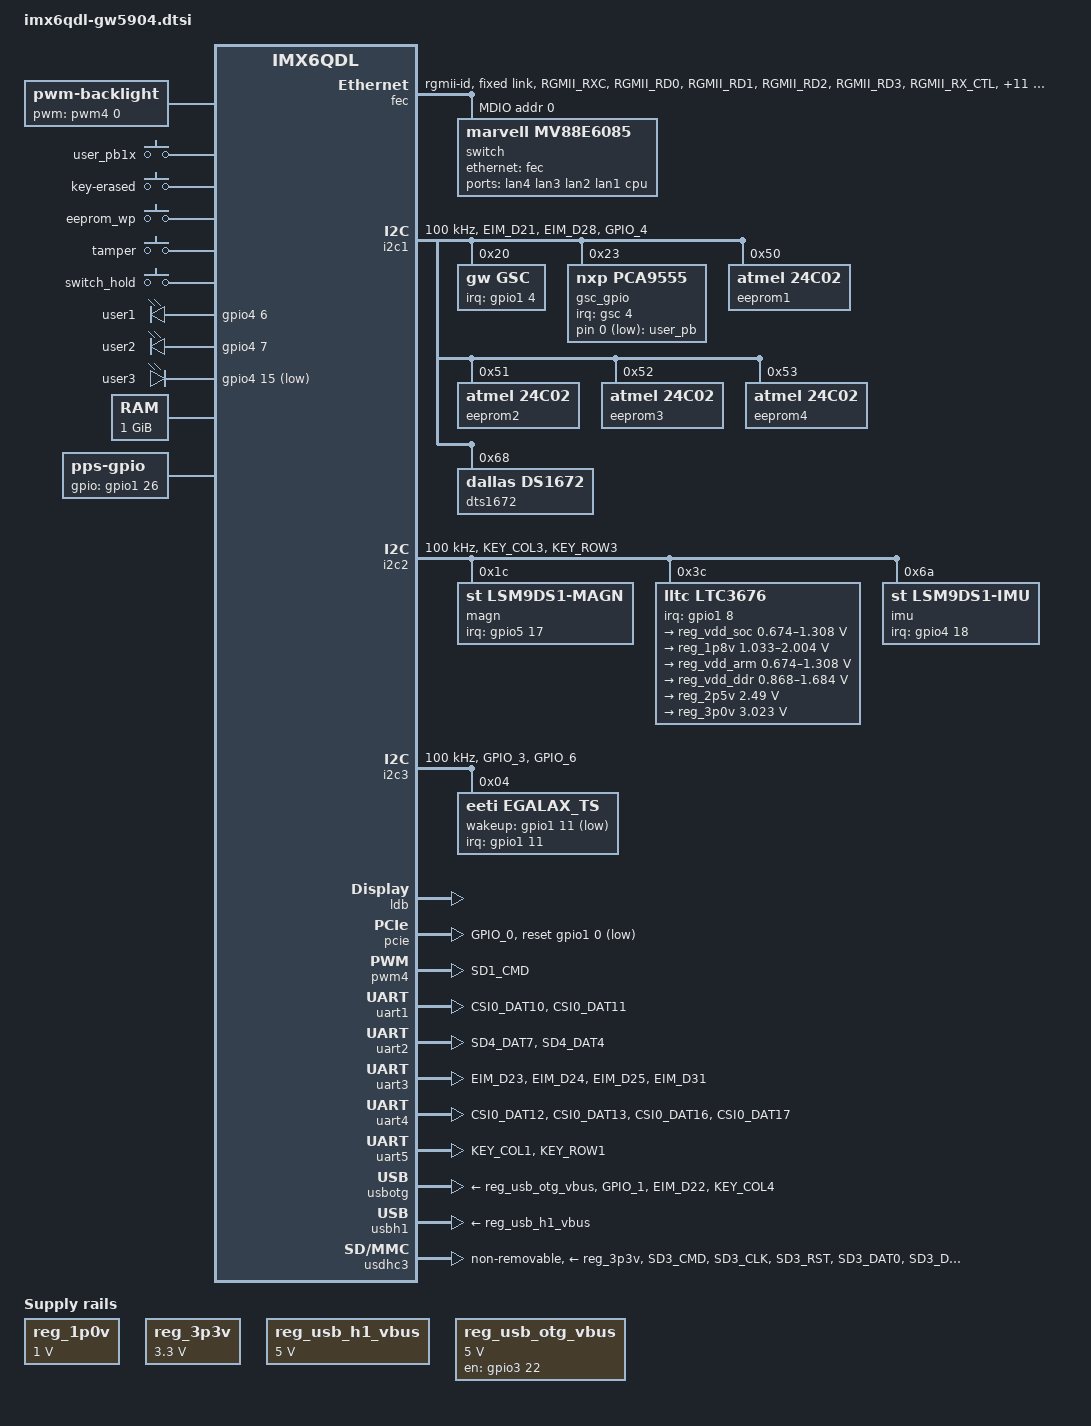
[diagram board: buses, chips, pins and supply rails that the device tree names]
/*
 * Copyright 2017 Gateworks Corporation
 *
 * This file is dual-licensed: you can use it either under the terms
 * of the GPL or the X11 license, at your option. Note that this dual
 * licensing only applies to this file, and not this project as a
 * whole.
 *
 *  a) This file is free software; you can redistribute it and/or
 *     modify it under the terms of the GNU General Public License as
 *     published by the Free Software Foundation; either version 2 of
 *     the License, or (at your option) any later version.
 *
 *     This file is distributed in the hope that it will be useful,
 *     but WITHOUT ANY WARRANTY; without even the implied warranty of
 *     MERCHANTABILITY or FITNESS FOR A PARTICULAR PURPOSE.  See the
 *     GNU General Public License for more details.
 *
 *     You should have received a copy of the GNU General Public
 *     License along with this file; if not, write to the Free
 *     Software Foundation, Inc., 51 Franklin St, Fifth Floor, Boston,
 *     MA 02110-1301 USA
 *
 * Or, alternatively,
 *
 *  b) Permission is hereby granted, free of charge, to any person
 *     obtaining a copy of this software and associated documentation
 *     files (the "Software"), to deal in the Software without
 *     restriction, including without limitation the rights to use,
 *     copy, modify, merge, publish, distribute, sublicense, and/or
 *     sell copies of the Software, and to permit persons to whom the
 *     Software is furnished to do so, subject to the following
 *     conditions:
 *
 *     The above copyright notice and this permission notice shall be
 *     included in all copies or substantial portions of the Software.
 *
 *     THE SOFTWARE IS PROVIDED "AS IS", WITHOUT WARRANTY OF ANY KIND,
 *     EXPRESS OR IMPLIED, INCLUDING BUT NOT LIMITED TO THE WARRANTIES
 *     OF MERCHANTABILITY, FITNESS FOR A PARTICULAR PURPOSE AND
 *     NONINFRINGEMENT. IN NO EVENT SHALL THE AUTHORS OR COPYRIGHT
 *     HOLDERS BE LIABLE FOR ANY CLAIM, DAMAGES OR OTHER LIABILITY,
 *     WHETHER IN AN ACTION OF CONTRACT, TORT OR OTHERWISE, ARISING
 *     FROM, OUT OF OR IN CONNECTION WITH THE SOFTWARE OR THE USE OR
 *     OTHER DEALINGS IN THE SOFTWARE.
 */

#include <dt-bindings/gpio/gpio.h>
#include <dt-bindings/input/linux-event-codes.h>
#include <dt-bindings/interrupt-controller/irq.h>

/ {
	/* these are used by bootloader for disabling nodes */
	aliases {
		led0 = &led0;
		led1 = &led1;
		led2 = &led2;
		usb0 = &usbh1;
		usb1 = &usbotg;
	};

	chosen {
		stdout-path = &uart2;
	};

	backlight {
		compatible = "pwm-backlight";
		pwms = <&pwm4 0 5000000>;
		brightness-levels = <0 4 8 16 32 64 128 255>;
		default-brightness-level = <7>;
	};

	gpio-keys {
		compatible = "gpio-keys";
		#address-cells = <1>;
		#size-cells = <0>;

		user-pb {
			label = "user_pb";
			gpios = <&gsc_gpio 0 GPIO_ACTIVE_LOW>;
			linux,code = <BTN_0>;
		};

		user-pb1x {
			label = "user_pb1x";
			linux,code = <BTN_1>;
			interrupt-parent = <&gsc>;
			interrupts = <0>;
		};

		key-erased {
			label = "key-erased";
			linux,code = <BTN_2>;
			interrupt-parent = <&gsc>;
			interrupts = <1>;
		};

		eeprom-wp {
			label = "eeprom_wp";
			linux,code = <BTN_3>;
			interrupt-parent = <&gsc>;
			interrupts = <2>;
		};

		tamper {
			label = "tamper";
			linux,code = <BTN_4>;
			interrupt-parent = <&gsc>;
			interrupts = <5>;
		};

		switch-hold {
			label = "switch_hold";
			linux,code = <BTN_5>;
			interrupt-parent = <&gsc>;
			interrupts = <7>;
		};
	};

	leds {
		compatible = "gpio-leds";
		pinctrl-names = "default";
		pinctrl-0 = <&pinctrl_gpio_leds>;

		led0: user1 {
			label = "user1";
			gpios = <&gpio4 6 GPIO_ACTIVE_HIGH>; /* MX6_PANLEDG */
			default-state = "on";
			linux,default-trigger = "heartbeat";
		};

		led1: user2 {
			label = "user2";
			gpios = <&gpio4 7 GPIO_ACTIVE_HIGH>; /* MX6_PANLEDR */
			default-state = "off";
		};

		led2: user3 {
			label = "user3";
			gpios = <&gpio4 15 GPIO_ACTIVE_LOW>; /* MX6_LOCLED# */
			default-state = "off";
		};
	};

	memory@10000000 {
		device_type = "memory";
		reg = <0x10000000 0x40000000>;
	};

	pps {
		compatible = "pps-gpio";
		pinctrl-names = "default";
		pinctrl-0 = <&pinctrl_pps>;
		gpios = <&gpio1 26 GPIO_ACTIVE_HIGH>;
	};

	reg_1p0v: regulator-1p0v {
		compatible = "regulator-fixed";
		regulator-name = "1P0V";
		regulator-min-microvolt = <1000000>;
		regulator-max-microvolt = <1000000>;
		regulator-always-on;
	};

	reg_3p3v: regulator-3p3v {
		compatible = "regulator-fixed";
		regulator-name = "3P3V";
		regulator-min-microvolt = <3300000>;
		regulator-max-microvolt = <3300000>;
		regulator-always-on;
	};

	reg_usb_h1_vbus: regulator-usb-h1-vbus {
		compatible = "regulator-fixed";
		regulator-name = "usb_h1_vbus";
		regulator-min-microvolt = <5000000>;
		regulator-max-microvolt = <5000000>;
		regulator-always-on;
	};

	reg_usb_otg_vbus: regulator-usb-otg-vbus {
		compatible = "regulator-fixed";
		regulator-name = "usb_otg_vbus";
		regulator-min-microvolt = <5000000>;
		regulator-max-microvolt = <5000000>;
		gpio = <&gpio3 22 GPIO_ACTIVE_HIGH>;
		enable-active-high;
	};
};

&clks {
	assigned-clocks = <&clks IMX6QDL_CLK_LDB_DI0_SEL>,
			  <&clks IMX6QDL_CLK_LDB_DI1_SEL>;
	assigned-clock-parents = <&clks IMX6QDL_CLK_PLL3_USB_OTG>,
				 <&clks IMX6QDL_CLK_PLL3_USB_OTG>;
};

&fec {
	pinctrl-names = "default";
	pinctrl-0 = <&pinctrl_enet>;
	phy-mode = "rgmii-id";
	status = "okay";

	fixed-link {
		speed = <1000>;
		full-duplex;
	};

	mdio {
		#address-cells = <1>;
		#size-cells = <0>;

		switch@0 {
			compatible = "marvell,mv88e6085";
			reg = <0>;

			ports {
				#address-cells = <1>;
				#size-cells = <0>;

				port@0 {
					reg = <0>;
					label = "lan4";
				};

				port@1 {
					reg = <1>;
					label = "lan3";
				};

				port@2 {
					reg = <2>;
					label = "lan2";
				};

				port@3 {
					reg = <3>;
					label = "lan1";
				};

				port@5 {
					reg = <5>;
					label = "cpu";
					ethernet = <&fec>;
				};
			};
		};
	};
};

&i2c1 {
	clock-frequency = <100000>;
	pinctrl-names = "default";
	pinctrl-0 = <&pinctrl_i2c1>;
	status = "okay";

	gsc: gsc@20 {
		compatible = "gw,gsc";
		reg = <0x20>;
		interrupt-parent = <&gpio1>;
		interrupts = <4 IRQ_TYPE_LEVEL_LOW>;
		interrupt-controller;
		#interrupt-cells = <1>;
		#size-cells = <0>;

		adc {
			compatible = "gw,gsc-adc";
			#address-cells = <1>;
			#size-cells = <0>;

			channel@0 {
				gw,mode = <0>;
				reg = <0x00>;
				label = "temp";
			};

			channel@2 {
				gw,mode = <1>;
				reg = <0x02>;
				label = "vdd_vin";
			};

			channel@5 {
				gw,mode = <1>;
				reg = <0x05>;
				label = "vdd_3p3";
			};

			channel@8 {
				gw,mode = <1>;
				reg = <0x08>;
				label = "vdd_bat";
			};

			channel@b {
				gw,mode = <1>;
				reg = <0x0b>;
				label = "vdd_5p0";
			};

			channel@e {
				gw,mode = <1>;
				reg = <0xe>;
				label = "vdd_arm";
			};

			channel@11 {
				gw,mode = <1>;
				reg = <0x11>;
				label = "vdd_soc";
			};

			channel@14 {
				gw,mode = <1>;
				reg = <0x14>;
				label = "vdd_3p0";
			};

			channel@17 {
				gw,mode = <1>;
				reg = <0x17>;
				label = "vdd_1p5";
			};

			channel@1d {
				gw,mode = <1>;
				reg = <0x1d>;
				label = "vdd_1p8";
			};

			channel@20 {
				gw,mode = <1>;
				reg = <0x20>;
				label = "vdd_an1";
			};

			channel@23 {
				gw,mode = <1>;
				reg = <0x23>;
				label = "vdd_2p5";
			};
		};
	};

	gsc_gpio: gpio@23 {
		compatible = "nxp,pca9555";
		reg = <0x23>;
		gpio-controller;
		#gpio-cells = <2>;
		interrupt-parent = <&gsc>;
		interrupts = <4>;
	};

	eeprom1: eeprom@50 {
		compatible = "atmel,24c02";
		reg = <0x50>;
		pagesize = <16>;
	};

	eeprom2: eeprom@51 {
		compatible = "atmel,24c02";
		reg = <0x51>;
		pagesize = <16>;
	};

	eeprom3: eeprom@52 {
		compatible = "atmel,24c02";
		reg = <0x52>;
		pagesize = <16>;
	};

	eeprom4: eeprom@53 {
		compatible = "atmel,24c02";
		reg = <0x53>;
		pagesize = <16>;
	};

	dts1672: rtc@68 {
		compatible = "dallas,ds1672";
		reg = <0x68>;
	};
};

&i2c2 {
	clock-frequency = <100000>;
	pinctrl-names = "default";
	pinctrl-0 = <&pinctrl_i2c2>;
	status = "okay";

	magn@1c {
		compatible = "st,lsm9ds1-magn";
		reg = <0x1c>;
		pinctrl-names = "default";
		pinctrl-0 = <&pinctrl_mag>;
		interrupt-parent = <&gpio5>;
		interrupts = <17 IRQ_TYPE_EDGE_RISING>;
	};

	ltc3676: pmic@3c {
		compatible = "lltc,ltc3676";
		reg = <0x3c>;
		interrupt-parent = <&gpio1>;
		interrupts = <8 IRQ_TYPE_EDGE_FALLING>;

		regulators {
			/* VDD_SOC (1+R1/R2 = 1.635) */
			reg_vdd_soc: sw1 {
				regulator-name = "vddsoc";
				regulator-min-microvolt = <674400>;
				regulator-max-microvolt = <1308000>;
				lltc,fb-voltage-divider = <127000 200000>;
				regulator-ramp-delay = <7000>;
				regulator-boot-on;
				regulator-always-on;
			};

			/* VDD_1P8 (1+R1/R2 = 2.505): GbE switch */
			reg_1p8v: sw2 {
				regulator-name = "vdd1p8";
				regulator-min-microvolt = <1033310>;
				regulator-max-microvolt = <2004000>;
				lltc,fb-voltage-divider = <301000 200000>;
				regulator-ramp-delay = <7000>;
				regulator-boot-on;
				regulator-always-on;
			};

			/* VDD_ARM (1+R1/R2 = 1.635) */
			reg_vdd_arm: sw3 {
				regulator-name = "vddarm";
				regulator-min-microvolt = <674400>;
				regulator-max-microvolt = <1308000>;
				lltc,fb-voltage-divider = <127000 200000>;
				regulator-ramp-delay = <7000>;
				regulator-boot-on;
				regulator-always-on;
			};

			/* VDD_DDR (1+R1/R2 = 2.105) */
			reg_vdd_ddr: sw4 {
				regulator-name = "vddddr";
				regulator-min-microvolt = <868310>;
				regulator-max-microvolt = <1684000>;
				lltc,fb-voltage-divider = <221000 200000>;
				regulator-ramp-delay = <7000>;
				regulator-boot-on;
				regulator-always-on;
			};

			/* VDD_2P5 (1+R1/R2 = 3.435): PCIe/ENET-PHY */
			reg_2p5v: ldo2 {
				regulator-name = "vdd2p5";
				regulator-min-microvolt = <2490375>;
				regulator-max-microvolt = <2490375>;
				lltc,fb-voltage-divider = <487000 200000>;
				regulator-boot-on;
				regulator-always-on;
			};

			/* VDD_HIGH (1+R1/R2 = 4.17) */
			reg_3p0v: ldo4 {
				regulator-name = "vdd3p0";
				regulator-min-microvolt = <3023250>;
				regulator-max-microvolt = <3023250>;
				lltc,fb-voltage-divider = <634000 200000>;
				regulator-boot-on;
				regulator-always-on;
			};
		};
	};

	imu@6a {
		compatible = "st,lsm9ds1-imu";
		reg = <0x6a>;
		st,drdy-int-pin = <1>;
		pinctrl-names = "default";
		pinctrl-0 = <&pinctrl_imu>;
		interrupt-parent = <&gpio4>;
		interrupts = <18 IRQ_TYPE_LEVEL_HIGH>;
	};
};

&i2c3 {
	clock-frequency = <100000>;
	pinctrl-names = "default";
	pinctrl-0 = <&pinctrl_i2c3>;
	status = "okay";

	egalax_ts: touchscreen@4 {
		compatible = "eeti,egalax_ts";
		reg = <0x04>;
		interrupt-parent = <&gpio1>;
		interrupts = <11 IRQ_TYPE_EDGE_FALLING>;
		wakeup-gpios = <&gpio1 11 GPIO_ACTIVE_LOW>;
	};
};

&ldb {
	status = "okay";

	lvds-channel@0 {
		fsl,data-mapping = "spwg";
		fsl,data-width = <18>;
		status = "okay";

		display-timings {
			native-mode = <&timing0>;
			timing0: hsd100pxn1 {
				clock-frequency = <65000000>;
				hactive = <1024>;
				vactive = <768>;
				hback-porch = <220>;
				hfront-porch = <40>;
				vback-porch = <21>;
				vfront-porch = <7>;
				hsync-len = <60>;
				vsync-len = <10>;
			};
		};
	};
};

&pcie {
	pinctrl-names = "default";
	pinctrl-0 = <&pinctrl_pcie>;
	reset-gpio = <&gpio1 0 GPIO_ACTIVE_LOW>;
	status = "okay";
};

&pwm2 {
	pinctrl-names = "default";
	pinctrl-0 = <&pinctrl_pwm2>; /* MX6_DIO1 */
	status = "disabled";
};

&pwm3 {
	pinctrl-names = "default";
	pinctrl-0 = <&pinctrl_pwm3>; /* MX6_DIO2 */
	status = "disabled";
};

&pwm4 {
	#pwm-cells = <2>;
	pinctrl-names = "default";
	pinctrl-0 = <&pinctrl_pwm4>;
	status = "okay";
};

&uart1 {
	pinctrl-names = "default";
	pinctrl-0 = <&pinctrl_uart1>;
	status = "okay";
};

&uart2 {
	pinctrl-names = "default";
	pinctrl-0 = <&pinctrl_uart2>;
	status = "okay";
};

&uart3 {
	pinctrl-names = "default";
	pinctrl-0 = <&pinctrl_uart3>;
	uart-has-rtscts;
	status = "okay";
};

&uart4 {
	pinctrl-names = "default";
	pinctrl-0 = <&pinctrl_uart4>;
	uart-has-rtscts;
	status = "okay";
};

&uart5 {
	pinctrl-names = "default";
	pinctrl-0 = <&pinctrl_uart5>;
	status = "okay";
};

&usbotg {
	vbus-supply = <&reg_usb_otg_vbus>;
	pinctrl-names = "default";
	pinctrl-0 = <&pinctrl_usbotg>;
	disable-over-current;
	status = "okay";
};

&usbh1 {
	vbus-supply = <&reg_usb_h1_vbus>;
	status = "okay";
};

&usdhc3 {
	pinctrl-names = "default", "state_100mhz", "state_200mhz";
	pinctrl-0 = <&pinctrl_usdhc3>;
	pinctrl-1 = <&pinctrl_usdhc3_100mhz>;
	pinctrl-2 = <&pinctrl_usdhc3_200mhz>;
	non-removable;
	vmmc-supply = <&reg_3p3v>;
	keep-power-in-suspend;
	status = "okay";
};

&wdog1 {
	pinctrl-names = "default";
	pinctrl-0 = <&pinctrl_wdog>;
	fsl,ext-reset-output;
};

&iomuxc {
	pinctrl_enet: enetgrp {
		fsl,pins = <
			MX6QDL_PAD_RGMII_RXC__RGMII_RXC		0x1b030
			MX6QDL_PAD_RGMII_RD0__RGMII_RD0		0x1b030
			MX6QDL_PAD_RGMII_RD1__RGMII_RD1		0x1b030
			MX6QDL_PAD_RGMII_RD2__RGMII_RD2		0x1b030
			MX6QDL_PAD_RGMII_RD3__RGMII_RD3		0x1b030
			MX6QDL_PAD_RGMII_RX_CTL__RGMII_RX_CTL	0x1b030
			MX6QDL_PAD_RGMII_TXC__RGMII_TXC		0x1b030
			MX6QDL_PAD_RGMII_TD0__RGMII_TD0		0x1b030
			MX6QDL_PAD_RGMII_TD1__RGMII_TD1		0x1b030
			MX6QDL_PAD_RGMII_TD2__RGMII_TD2		0x1b030
			MX6QDL_PAD_RGMII_TD3__RGMII_TD3		0x1b030
			MX6QDL_PAD_RGMII_TX_CTL__RGMII_TX_CTL	0x1b030
			MX6QDL_PAD_ENET_REF_CLK__ENET_TX_CLK	0x1b0b0
			MX6QDL_PAD_ENET_MDIO__ENET_MDIO		0x1b0b0
			MX6QDL_PAD_ENET_MDC__ENET_MDC		0x1b0b0
			MX6QDL_PAD_GPIO_16__ENET_REF_CLK	0x4001b0a8
			MX6QDL_PAD_ENET_TXD0__GPIO1_IO30	0x4001b0b0 /* PHY_RST# */
		>;
	};

	pinctrl_gpio_leds: gpioledsgrp {
		fsl,pins = <
			MX6QDL_PAD_KEY_COL0__GPIO4_IO06		0x1b0b0
			MX6QDL_PAD_KEY_ROW0__GPIO4_IO07		0x1b0b0
			MX6QDL_PAD_KEY_ROW4__GPIO4_IO15		0x1b0b0
		>;
	};

	pinctrl_i2c1: i2c1grp {
		fsl,pins = <
			MX6QDL_PAD_EIM_D21__I2C1_SCL		0x4001b8b1
			MX6QDL_PAD_EIM_D28__I2C1_SDA		0x4001b8b1
			MX6QDL_PAD_GPIO_4__GPIO1_IO04		0x0001b0b0 /* GSC_IRQ# */
		>;
	};

	pinctrl_i2c2: i2c2grp {
		fsl,pins = <
			MX6QDL_PAD_KEY_COL3__I2C2_SCL		0x4001b8b1
			MX6QDL_PAD_KEY_ROW3__I2C2_SDA		0x4001b8b1
		>;
	};

	pinctrl_i2c3: i2c3grp {
		fsl,pins = <
			MX6QDL_PAD_GPIO_3__I2C3_SCL		0x4001b8b1
			MX6QDL_PAD_GPIO_6__I2C3_SDA		0x4001b8b1
		>;
	};

	pinctrl_imu: imugrp {
		fsl,pins = <
			MX6QDL_PAD_DI0_PIN2__GPIO4_IO18		0x1b0b0
		>;
	};

	pinctrl_mag: maggrp {
		fsl,pins = <
			MX6QDL_PAD_DISP0_DAT23__GPIO5_IO17	0x1b0b0
		>;
	};

	pinctrl_pcie: pciegrp {
		fsl,pins = <
			MX6QDL_PAD_GPIO_0__GPIO1_IO00	0x1b0b0 /* PCIE RST */
		>;
	};

	pinctrl_pmic: pmicgrp {
		fsl,pins = <
			MX6QDL_PAD_GPIO_8__GPIO1_IO08	0x1b0b0 /* PMIC_IRQ# */
		>;
	};

	pinctrl_pps: ppsgrp {
		fsl,pins = <
			MX6QDL_PAD_ENET_RXD1__GPIO1_IO26	0x1b0b1
		>;
	};

	pinctrl_pwm2: pwm2grp {
		fsl,pins = <
			MX6QDL_PAD_SD1_DAT2__PWM2_OUT		0x1b0b1
		>;
	};

	pinctrl_pwm3: pwm3grp {
		fsl,pins = <
			MX6QDL_PAD_SD1_DAT1__PWM3_OUT		0x1b0b1
		>;
	};

	pinctrl_pwm4: pwm4grp {
		fsl,pins = <
			MX6QDL_PAD_SD1_CMD__PWM4_OUT		0x1b0b1
		>;
	};

	pinctrl_uart1: uart1grp {
		fsl,pins = <
			MX6QDL_PAD_CSI0_DAT10__UART1_TX_DATA	0x1b0b1
			MX6QDL_PAD_CSI0_DAT11__UART1_RX_DATA	0x1b0b1
		>;
	};

	pinctrl_uart2: uart2grp {
		fsl,pins = <
			MX6QDL_PAD_SD4_DAT7__UART2_TX_DATA	0x1b0b1
			MX6QDL_PAD_SD4_DAT4__UART2_RX_DATA	0x1b0b1
		>;
	};

	pinctrl_uart3: uart3grp {
		fsl,pins = <
			MX6QDL_PAD_EIM_D23__UART3_CTS_B         0x1b0b1
			MX6QDL_PAD_EIM_D24__UART3_TX_DATA       0x1b0b1
			MX6QDL_PAD_EIM_D25__UART3_RX_DATA       0x1b0b1
			MX6QDL_PAD_EIM_D31__UART3_RTS_B         0x1b0b1
		>;
	};

	pinctrl_uart4: uart4grp {
		fsl,pins = <
			MX6QDL_PAD_CSI0_DAT12__UART4_TX_DATA    0x1b0b1
			MX6QDL_PAD_CSI0_DAT13__UART4_RX_DATA    0x1b0b1
			MX6QDL_PAD_CSI0_DAT16__UART4_RTS_B      0x1b0b1
			MX6QDL_PAD_CSI0_DAT17__UART4_CTS_B      0x1b0b1
		>;
	};

	pinctrl_uart5: uart5grp {
		fsl,pins = <
			MX6QDL_PAD_KEY_COL1__UART5_TX_DATA	0x1b0b1
			MX6QDL_PAD_KEY_ROW1__UART5_RX_DATA	0x1b0b1
		>;
	};

	pinctrl_usbotg: usbotggrp {
		fsl,pins = <
			MX6QDL_PAD_GPIO_1__USB_OTG_ID		0x17059
			MX6QDL_PAD_EIM_D22__GPIO3_IO22		0x1b0b0 /* PWR_EN */
			MX6QDL_PAD_KEY_COL4__GPIO4_IO14		0x1b0b0 /* OC */
		>;
	};

	pinctrl_usdhc3: usdhc3grp {
		fsl,pins = <
			MX6QDL_PAD_SD3_CMD__SD3_CMD		0x17059
			MX6QDL_PAD_SD3_CLK__SD3_CLK		0x10059
			MX6QDL_PAD_SD3_RST__SD3_RESET		0x10059
			MX6QDL_PAD_SD3_DAT0__SD3_DATA0		0x17059
			MX6QDL_PAD_SD3_DAT1__SD3_DATA1		0x17059
			MX6QDL_PAD_SD3_DAT2__SD3_DATA2		0x17059
			MX6QDL_PAD_SD3_DAT3__SD3_DATA3		0x17059
			MX6QDL_PAD_SD3_DAT4__SD3_DATA4		0x17059
			MX6QDL_PAD_SD3_DAT5__SD3_DATA5		0x17059
			MX6QDL_PAD_SD3_DAT6__SD3_DATA6		0x17059
			MX6QDL_PAD_SD3_DAT7__SD3_DATA7		0x17059
		>;
	};

	pinctrl_usdhc3_100mhz: usdhc3grp100mhz {
		fsl,pins = <
			MX6QDL_PAD_SD3_CMD__SD3_CMD		0x170b9
			MX6QDL_PAD_SD3_CLK__SD3_CLK		0x100b9
			MX6QDL_PAD_SD3_RST__SD3_RESET		0x100b9
			MX6QDL_PAD_SD3_DAT0__SD3_DATA0		0x170b9
			MX6QDL_PAD_SD3_DAT1__SD3_DATA1		0x170b9
			MX6QDL_PAD_SD3_DAT2__SD3_DATA2		0x170b9
			MX6QDL_PAD_SD3_DAT3__SD3_DATA3		0x170b9
			MX6QDL_PAD_SD3_DAT4__SD3_DATA4		0x170b9
			MX6QDL_PAD_SD3_DAT5__SD3_DATA5		0x170b9
			MX6QDL_PAD_SD3_DAT6__SD3_DATA6		0x170b9
			MX6QDL_PAD_SD3_DAT7__SD3_DATA7		0x170b9
		>;
	};

	pinctrl_usdhc3_200mhz: usdhc3grp200mhz {
		fsl,pins = <
			MX6QDL_PAD_SD3_CMD__SD3_CMD		0x170f9
			MX6QDL_PAD_SD3_CLK__SD3_CLK		0x100f9
			MX6QDL_PAD_SD3_RST__SD3_RESET		0x100f9
			MX6QDL_PAD_SD3_DAT0__SD3_DATA0		0x170f9
			MX6QDL_PAD_SD3_DAT1__SD3_DATA1		0x170f9
			MX6QDL_PAD_SD3_DAT2__SD3_DATA2		0x170f9
			MX6QDL_PAD_SD3_DAT3__SD3_DATA3		0x170f9
			MX6QDL_PAD_SD3_DAT4__SD3_DATA4		0x170f9
			MX6QDL_PAD_SD3_DAT5__SD3_DATA5		0x170f9
			MX6QDL_PAD_SD3_DAT6__SD3_DATA6		0x170f9
			MX6QDL_PAD_SD3_DAT7__SD3_DATA7		0x170f9
		>;
	};

	pinctrl_wdog: wdoggrp {
		fsl,pins = <
			MX6QDL_PAD_DISP0_DAT8__WDOG1_B		0x1b0b0
		>;
	};
};
